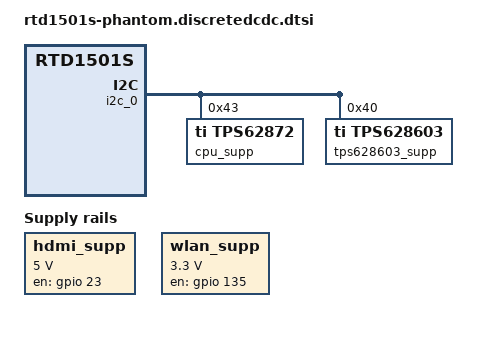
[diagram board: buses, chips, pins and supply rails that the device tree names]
// SPDX-License-Identifier: (GPL-2.0-or-later OR BSD-2-Clause)
/*
 * Copyright (c) 2024 Realtek Semiconductor Corp.
 */

#include <dt-bindings/regulator/ti,tps62860.h>

&i2c_0 {
	status = "okay";

	cpu_supp:
	tps62872_supp: tps62872@43 {
		compatible = "ti,tps62872";
		reg = <0x43>;
		regulator-name = "cpudvs";
		regulator-min-microvolt = <800000>;
		regulator-max-microvolt = <11000000>;
		regulator-boot-on;
		regulator-always-on;
		regulator-coupled-with = <&tps628603_supp>;
		regulator-coupled-max-spread = <20000>;
		regulator-ramp-delay = <1250>;
	};

	tps628603_supp: tps628603@40 {
		compatible = "ti,tps628603";
		reg = <0x40>;
		regulator-name = "cpusram";
		regulator-min-microvolt = <800000>;
		regulator-max-microvolt = <1100000>;
		regulator-allowed-modes = <TPS62860_MODE_NORMAL>, <TPS62860_MODE_FPWM>;
		regulator-boot-on;
		regulator-always-on;
		regulator-coupled-with = <&tps62872_supp>;
		regulator-coupled-max-spread = <20000>;
		regulator-ramp-delay = <10000>;
	};
};

&{/} {
	hdmi_supp: hdmi-supply {
		compatible = "regulator-fixed";
		regulator-name = "hdmi5v";
		regulator-min-microvolt = <5000000>;
		regulator-max-microvolt = <5000000>;
		enable-active-high;
		gpio = <&gpio 23 GPIO_ACTIVE_HIGH>;
	};

	wlan_supp: wlan-supply {
		compatible = "regulator-fixed";
		regulator-name = "wlan";
		regulator-min-microvolt = <3300000>;
		regulator-max-microvolt = <3300000>;
		enable-active-high;
		gpio = <&gpio 135 GPIO_ACTIVE_HIGH>;
	};
};
